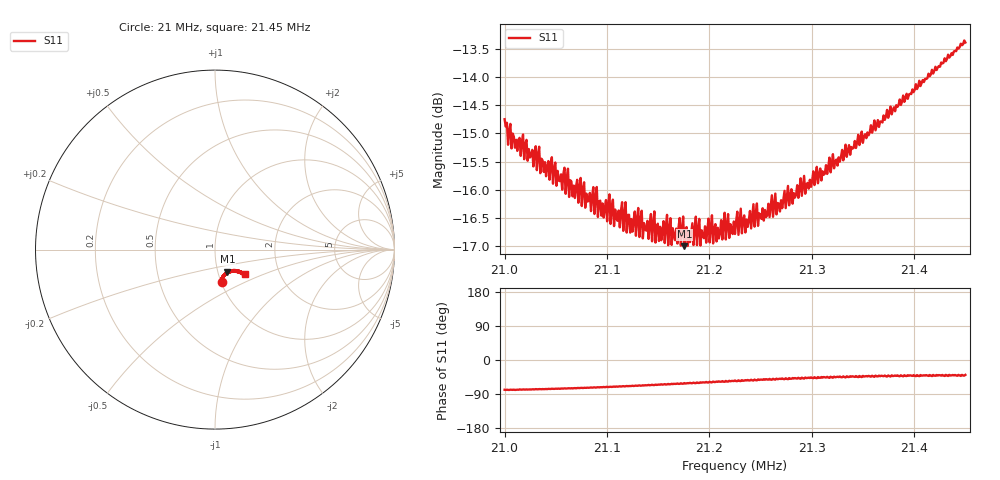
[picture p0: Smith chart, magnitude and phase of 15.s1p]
# Hz S RI R 50
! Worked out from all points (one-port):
!   401 points, 21 MHz to 21.45 MHz, reference 50 ohm
!   lowest |S11| = -17.0 dB at 21.175 MHz (marker M1), VSWR 1.33, Z = 55.5 - j14 ohm
!   |S11| at or under -10 dB: start of sweep to end of sweep
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2.1e7  0.0363 -0.1794
2.1009e7  0.0359 -0.173
2.105625e7  0.0406 -0.1533
2.10675e7  0.0428 -0.1541
2.107538e7  0.0437 -0.147
2.108212e7  0.0444 -0.1485
2.108775e7  0.0462 -0.1437
2.109562e7  0.0482 -0.1465
2.11035e7  0.0494 -0.1394
2.11125e7  0.0518 -0.1374
2.112375e7  0.0544 -0.1391
2.113162e7  0.0562 -0.1326
2.113725e7  0.0582 -0.1342
2.1144e7  0.0597 -0.1297
2.114962e7  0.0619 -0.1344
2.116875e7  0.0669 -0.1254
2.11755e7  0.0687 -0.1235
2.117775e7  0.0698 -0.1293
2.118788e7  0.0726 -0.1217
2.11935e7  0.0745 -0.124
2.120025e7  0.0766 -0.12
2.120812e7  0.0784 -0.124
2.1216e7  0.0816 -0.1178
2.1225e7  0.0849 -0.1174
2.128125e7  0.1039 -0.1139
2.13375e7  0.1249 -0.1157
2.139375e7  0.1459 -0.123
2.145e7  0.1657 -0.1354
